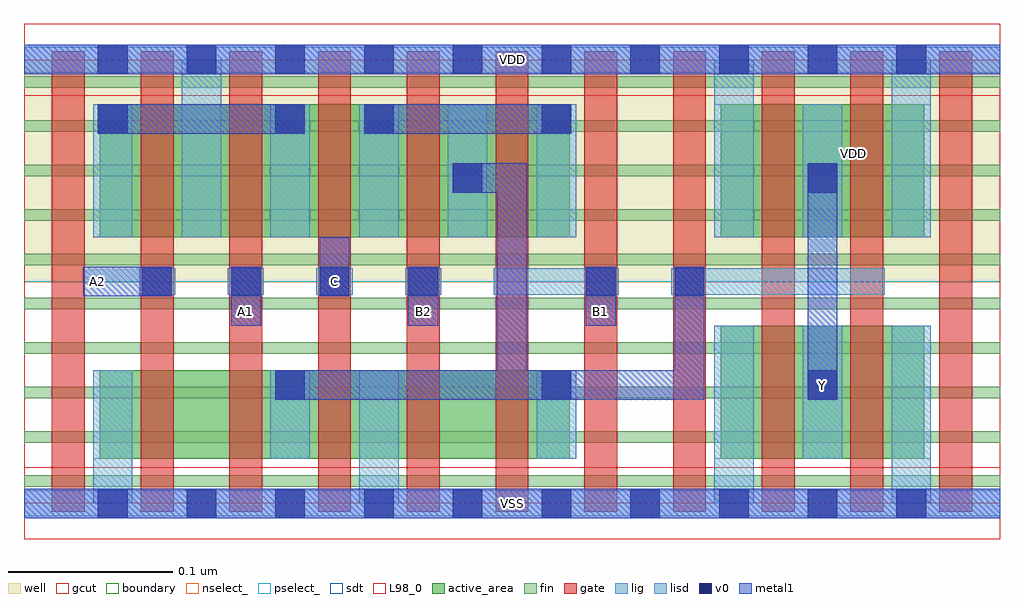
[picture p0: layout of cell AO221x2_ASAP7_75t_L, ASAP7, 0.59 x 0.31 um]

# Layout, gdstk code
import gdstk
lib = gdstk.Library(unit=1e-6, precision=2.5e-10)
def R(c, l, rs):  # rectangles x0, y0, x1, y1
    for r in rs: c.add(gdstk.rectangle(r[:2], r[2:], *l))
def A(c, l, x, y, w, h, nx, ny, dx, dy):  # array of equal rectangles
    R(c, l, [(x+i*dx, y+j*dy, x+i*dx+w, y+j*dy+h) for i in range(nx) for j in range(ny)])
def P(c, l, *ps):  # polygons
    for p in ps: c.add(gdstk.Polygon(p, *l))
well = (1, 0)
fin = (2, 0)
gate = (7, 0)
gcut = (10, 0)
active_area = (11, 0)
nselect_ = (12, 0)
pselect_ = (13, 0)
lig = (16, 0)
lisd = (17, 0)
v0 = (18, 0)
metal1 = (19, 0)
sdt = (88, 0)
L98_0 = (98, 0)
boundary = (100, 0)

ao221x2_asap7_75t_l = lib.new_cell('AO221x2_ASAP7_75t_L')
R(ao221x2_asap7_75t_l, well, [(0,0.135,0.594,0.27)])
A(ao221x2_asap7_75t_l, fin, 0, 0.01, 0.594, 0.007, 1, 10, 0, 0.027)
A(ao221x2_asap7_75t_l, gate, 0.017, -0.005, 0.02, 0.28, 11, 1, 0.054, 0)
R(ao221x2_asap7_75t_l, gcut, [(0,-0.022,0.594,0.022), (0,0.248,0.594,0.292)])
R(ao221x2_asap7_75t_l, active_area, [(0.046,0.027,0.332,0.081), (0.424,0.027,0.548,0.108), (0.046,0.162,0.332,0.243), (0.424,0.162,0.548,0.243)])
R(ao221x2_asap7_75t_l, nselect_, [(0,0,0.594,0.135)])
R(ao221x2_asap7_75t_l, pselect_, [(0,0.135,0.594,0.27)])
A(ao221x2_asap7_75t_l, lig, 0.07, 0.127, 0.022, 0.016, 4, 1, 0.054, 0)
R(ao221x2_asap7_75t_l, lig, [(0,-0.008,0.594,0.008), (0.286,0.127,0.362,0.143), (0.394,0.127,0.524,0.143), (0,0.262,0.594,0.278)])
A(ao221x2_asap7_75t_l, lisd, 0.15, 0.162, 0.024, 0.081, 4, 1, 0.054, 0)
R(ao221x2_asap7_75t_l, lisd, [(0.042,0,0.066,0.081), (0.204,0,0.228,0.081), (0.42,0,0.444,0.108), (0.528,0,0.552,0.108), (0.15,0.027,0.174,0.081), (0.312,0.027,0.336,0.081), (0.474,0.027,0.498,0.108), (0.042,0.162,0.066,0.243), (0.096,0.162,0.12,0.27), (0.42,0.162,0.444,0.27), (0.474,0.162,0.498,0.243), (0.528,0.162,0.552,0.27)])
A(ao221x2_asap7_75t_l, v0, 0.045, -0.009, 0.018, 0.018, 10, 2, 0.054, 0.27)
A(ao221x2_asap7_75t_l, v0, 0.153, 0.063, 0.018, 0.018, 3, 1, 0.162, 0)
A(ao221x2_asap7_75t_l, v0, 0.072, 0.126, 0.018, 0.018, 4, 1, 0.054, 0)
R(ao221x2_asap7_75t_l, v0, [(0.342,0.126,0.36,0.144), (0.396,0.126,0.414,0.144), (0.261,0.189,0.279,0.207), (0.477,0.189,0.495,0.207), (0.045,0.225,0.063,0.243), (0.153,0.225,0.171,0.243), (0.207,0.225,0.225,0.243), (0.315,0.225,0.333,0.243)])
A(ao221x2_asap7_75t_l, metal1, 0.126, 0.108, 0.018, 0.036, 3, 1, 0.108, 0)
R(ao221x2_asap7_75t_l, metal1, [(0,-0.009,0.594,0.009), (0.477,0.063,0.495,0.207), (0.036,0.126,0.09,0.144), (0.18,0.126,0.198,0.162), (0.045,0.225,0.171,0.243), (0.207,0.225,0.333,0.243), (0,0.261,0.594,0.279)])
P(ao221x2_asap7_75t_l, metal1, [(0.414,0.144),(0.396,0.144),(0.396,0.081),(0.306,0.081),(0.306,0.207),(0.261,0.207),(0.261,0.189),(0.288,0.189),(0.288,0.081),(0.153,0.081),(0.153,0.063),(0.414,0.063)])
A(ao221x2_asap7_75t_l, sdt, 0.42, 0.027, 0.024, 0.081, 3, 2, 0.054, 0.135)
A(ao221x2_asap7_75t_l, sdt, 0.042, 0.162, 0.024, 0.081, 6, 1, 0.054, 0)
R(ao221x2_asap7_75t_l, sdt, [(0.042,0.027,0.066,0.081), (0.15,0.027,0.174,0.081), (0.204,0.027,0.228,0.081), (0.312,0.027,0.336,0.081)])
R(ao221x2_asap7_75t_l, L98_0, [(0,0,0.594,0.27)])
R(ao221x2_asap7_75t_l, boundary, [(0,0,0.594,0.27)])
ao221x2_asap7_75t_l.add(gdstk.Label('Y', (0.486,0.072), layer=19, texttype=251))
ao221x2_asap7_75t_l.add(gdstk.Label('C', (0.189,0.135), layer=19, texttype=251))
ao221x2_asap7_75t_l.add(gdstk.Label('B2', (0.243,0.117), layer=19, texttype=251))
ao221x2_asap7_75t_l.add(gdstk.Label('B1', (0.351,0.117), layer=19, texttype=251))
ao221x2_asap7_75t_l.add(gdstk.Label('A2', (0.045,0.135), layer=19, texttype=251))
ao221x2_asap7_75t_l.add(gdstk.Label('A1', (0.135,0.117), layer=19, texttype=251))
ao221x2_asap7_75t_l.add(gdstk.Label('VSS', (0.297,0), layer=19, texttype=251))
ao221x2_asap7_75t_l.add(gdstk.Label('VDD', (0.297,0.27), layer=19, texttype=251))
ao221x2_asap7_75t_l.add(gdstk.Label('VDD', (0.505,0.213), layer=1, texttype=251))
ao221x2_asap7_75t_l.add(gdstk.Label('VSS', (0.683,0.213), layer=3, texttype=251))

lib.write_gds('AO221x2_ASAP7_75t_L.gds')
